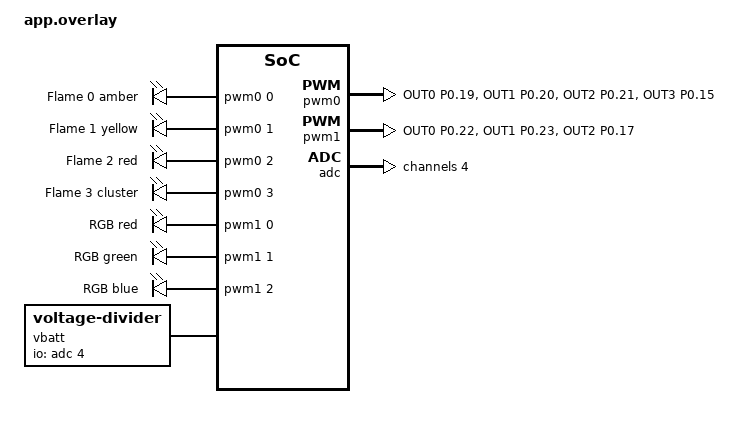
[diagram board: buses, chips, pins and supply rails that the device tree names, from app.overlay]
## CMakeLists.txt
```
# SPDX-License-Identifier: Apache-2.0
cmake_minimum_required(VERSION 3.20.0)

# The SparkFun Pro nRF52840 Mini board definition lives in this repo
# (boards/sparkfun/pro_nrf52840_mini); tell Zephyr where to look.
list(APPEND BOARD_ROOT ${CMAKE_CURRENT_SOURCE_DIR})

find_package(Zephyr REQUIRED HINTS $ENV{ZEPHYR_BASE})
project(openwick LANGUAGES C)

target_sources(app PRIVATE
  src/main.c
  src/candle.c
  src/candle_ble.c
  src/battery.c
)
target_sources_ifdef(CONFIG_SHELL app PRIVATE src/shell_cmds.c)
```

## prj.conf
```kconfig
# ---- Hardware ---------------------------------------------------------------
CONFIG_GPIO=y
CONFIG_PWM=y
CONFIG_ADC=y
CONFIG_FPU=y
CONFIG_REBOOT=y

# ---- Settings persistence in the "storage" partition (NVS) ------------------
CONFIG_FLASH=y
CONFIG_FLASH_MAP=y
CONFIG_FLASH_PAGE_LAYOUT=y
CONFIG_MPU_ALLOW_FLASH_WRITE=y
CONFIG_NVS=y
CONFIG_SETTINGS=y
CONFIG_SETTINGS_NVS=y

# ---- Bluetooth LE peripheral ------------------------------------------------
CONFIG_BT=y
CONFIG_BT_PERIPHERAL=y
CONFIG_BT_DEVICE_NAME="Pumpkin Candle"
# Appearance: light fixture
CONFIG_BT_DEVICE_APPEARANCE=1856
CONFIG_BT_MAX_CONN=1
CONFIG_BT_SETTINGS=n
# Database Hash characteristic, so phones notice when the service table changes
# between firmware versions instead of showing a cached copy.
CONFIG_BT_GATT_CACHING=y
CONFIG_NRF_SECURITY=y
CONFIG_BT_BAS=y
CONFIG_BT_DIS=y
CONFIG_BT_DIS_MODEL_NUMBER=y
CONFIG_BT_DIS_MODEL_NUMBER_STR="Pumpkin Candle"
CONFIG_BT_DIS_MANUF_NAME=y
CONFIG_BT_DIS_MANUF_NAME_STR="OpenWick"
CONFIG_BT_DIS_FW_REV=y
CONFIG_BT_DIS_FW_REV_STR="0.2.0"

# ---- USB console: logging and a shell ---------------------------------------
CONFIG_LOG=y
CONFIG_LOG_DEFAULT_LEVEL=3
CONFIG_SHELL=y
CONFIG_SHELL_PROMPT_UART="candle:~$ "
CONFIG_SHELL_CMDS_RESIZE=n
```

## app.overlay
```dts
/*
 * Candle wiring on the SparkFun Pro nRF52840 Mini headers.
 *
 * Everything in this file is project wiring (what we solder to the headers);
 * the board files only describe what SparkFun put on the PCB.
 *
 *   Header pin  Signal   What                      Peripheral
 *   P0.19       flame0   amber 5 mm                PWM0 ch0
 *   P0.20       flame1   yellow 5 mm               PWM0 ch1
 *   P0.21       flame2   red 5 mm                  PWM0 ch2
 *   P0.15       flame3   mini LED cluster          PWM0 ch3
 *   P0.22       rgb_r    RGB LED red               PWM1 ch0
 *   P0.23       rgb_g    RGB LED green             PWM1 ch1
 *   P0.17       rgb_b    RGB LED blue              PWM1 ch2
 *   P0.28       vbatt    battery divider (AIN4)    SAADC
 *
 * The four flame channels are low-side 2N3904 switches: GPIO high = LED on,
 * so their PWM polarity is "normal". The RGB LED is common cathode, so its
 * three elements are switched on the high side by 2N3906 PNPs: GPIO low =
 * element on, hence PWM_POLARITY_INVERTED on those channels. A 10 k from each
 * PNP base to 3V3 keeps the core dark while the pins float during reset.
 *
 * PWM period 500 us = 2 kHz, which gives 8000 counts of resolution on the
 * nRF52840's 16 MHz PWM clock (plenty for gamma-corrected low-end dimming).
 */

#include <zephyr/dt-bindings/pwm/pwm.h>
#include <zephyr/dt-bindings/adc/adc.h>
#include <zephyr/dt-bindings/adc/nrf-adc.h>

#define CANDLE_PWM_PERIOD PWM_USEC(500)

/ {
	flame_leds: pwmleds_flame {
		compatible = "pwm-leds";

		flame0: flame_0 {
			pwms = <&pwm0 0 CANDLE_PWM_PERIOD PWM_POLARITY_NORMAL>;
			label = "Flame 0 amber";
		};
		flame1: flame_1 {
			pwms = <&pwm0 1 CANDLE_PWM_PERIOD PWM_POLARITY_NORMAL>;
			label = "Flame 1 yellow";
		};
		flame2: flame_2 {
			pwms = <&pwm0 2 CANDLE_PWM_PERIOD PWM_POLARITY_NORMAL>;
			label = "Flame 2 red";
		};
		flame3: flame_3 {
			pwms = <&pwm0 3 CANDLE_PWM_PERIOD PWM_POLARITY_NORMAL>;
			label = "Flame 3 cluster";
		};
	};

	rgb_leds: pwmleds_rgb {
		compatible = "pwm-leds";

		rgb_r: rgb_r {
			pwms = <&pwm1 0 CANDLE_PWM_PERIOD PWM_POLARITY_INVERTED>;
			label = "RGB red";
		};
		rgb_g: rgb_g {
			pwms = <&pwm1 1 CANDLE_PWM_PERIOD PWM_POLARITY_INVERTED>;
			label = "RGB green";
		};
		rgb_b: rgb_b {
			pwms = <&pwm1 2 CANDLE_PWM_PERIOD PWM_POLARITY_INVERTED>;
			label = "RGB blue";
		};
	};

	/* Two 1 M resistors from the battery "+" pad to GND, midpoint to P0.28,
	 * with 100 nF from the midpoint to GND.
	 */
	vbatt: vbatt {
		compatible = "voltage-divider";
		io-channels = <&adc 4>;
		output-ohms = <1000000>;
		full-ohms = <(1000000 + 1000000)>;
	};
};

&pinctrl {
	pwm0_default: pwm0_default {
		group1 {
			psels = <NRF_PSEL(PWM_OUT0, 0, 19)>,
				<NRF_PSEL(PWM_OUT1, 0, 20)>,
				<NRF_PSEL(PWM_OUT2, 0, 21)>,
				<NRF_PSEL(PWM_OUT3, 0, 15)>;
		};
	};

	pwm0_sleep: pwm0_sleep {
		group1 {
			psels = <NRF_PSEL(PWM_OUT0, 0, 19)>,
				<NRF_PSEL(PWM_OUT1, 0, 20)>,
				<NRF_PSEL(PWM_OUT2, 0, 21)>,
				<NRF_PSEL(PWM_OUT3, 0, 15)>;
			low-power-enable;
		};
	};

	pwm1_default: pwm1_default {
		group1 {
			psels = <NRF_PSEL(PWM_OUT0, 0, 22)>,
				<NRF_PSEL(PWM_OUT1, 0, 23)>,
				<NRF_PSEL(PWM_OUT2, 0, 17)>;
		};
	};

	pwm1_sleep: pwm1_sleep {
		group1 {
			psels = <NRF_PSEL(PWM_OUT0, 0, 22)>,
				<NRF_PSEL(PWM_OUT1, 0, 23)>,
				<NRF_PSEL(PWM_OUT2, 0, 17)>;
			low-power-enable;
		};
	};
};

&pwm0 {
	status = "okay";
	pinctrl-0 = <&pwm0_default>;
	pinctrl-1 = <&pwm0_sleep>;
	pinctrl-names = "default", "sleep";
};

&pwm1 {
	status = "okay";
	pinctrl-0 = <&pwm1_default>;
	pinctrl-1 = <&pwm1_sleep>;
	pinctrl-names = "default", "sleep";
};

&adc {
	#address-cells = <1>;
	#size-cells = <0>;

	/* Battery divider: 0..2.1 V into AIN4, 1/6 gain against the 0.6 V
	 * internal reference gives a 3.6 V full scale. The 1 M source impedance
	 * needs the long 40 us acquisition time.
	 */
	channel@4 {
		reg = <4>;
		zephyr,gain = "ADC_GAIN_1_6";
		zephyr,reference = "ADC_REF_INTERNAL";
		zephyr,acquisition-time = <ADC_ACQ_TIME(ADC_ACQ_TIME_MICROSECONDS, 40)>;
		zephyr,input-positive = <NRF_SAADC_AIN4>;
		zephyr,resolution = <12>;
		zephyr,oversampling = <4>;
	};
};
```

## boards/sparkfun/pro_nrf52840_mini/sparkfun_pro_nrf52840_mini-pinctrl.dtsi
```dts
/*
 * SparkFun Pro nRF52840 Mini (DEV-15025) default pin assignments.
 *
 * UART pins match the silkscreen (TX = P0.17, RX = P0.15).
 * I2C pins are the Qwiic connector (SDA = P0.08, SCL = P0.11), which has
 * 2.2 k pull-ups to 3.3 V on the board.
 *
 * SPDX-License-Identifier: Apache-2.0
 */

&pinctrl {
	uart0_default: uart0_default {
		group1 {
			psels = <NRF_PSEL(UART_TX, 0, 17)>,
				<NRF_PSEL(UART_RX, 0, 15)>;
		};
	};

	uart0_sleep: uart0_sleep {
		group1 {
			psels = <NRF_PSEL(UART_TX, 0, 17)>,
				<NRF_PSEL(UART_RX, 0, 15)>;
			low-power-enable;
		};
	};

	i2c0_default: i2c0_default {
		group1 {
			psels = <NRF_PSEL(TWIM_SDA, 0, 8)>,
				<NRF_PSEL(TWIM_SCL, 0, 11)>;
		};
	};

	i2c0_sleep: i2c0_sleep {
		group1 {
			psels = <NRF_PSEL(TWIM_SDA, 0, 8)>,
				<NRF_PSEL(TWIM_SCL, 0, 11)>;
			low-power-enable;
		};
	};
};
```

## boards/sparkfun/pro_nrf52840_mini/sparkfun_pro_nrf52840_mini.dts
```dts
/*
 * SparkFun Pro nRF52840 Mini, bare-metal flash layout.
 *
 * WARNING: this target links the application at address 0 and flashing it
 * over SWD erases the factory UF2 bootloader. Use the ".../nrf52840/uf2"
 * target to keep drag-and-drop flashing.
 *
 * SPDX-License-Identifier: Apache-2.0
 */

/dts-v1/;
#include "sparkfun_pro_nrf52840_mini_common.dtsi"
#include <nordic/nrf52840_partition.dtsi>

/ {
	model = "SparkFun Pro nRF52840 Mini";
	compatible = "sparkfun,pro-nrf52840-mini";

	chosen {
		zephyr,console = &uart0;
		zephyr,shell-uart = &uart0;
		zephyr,uart-mcumgr = &uart0;
		zephyr,bt-mon-uart = &uart0;
		zephyr,bt-c2h-uart = &uart0;
	};
};

&uart0 {
	status = "okay";
};
```

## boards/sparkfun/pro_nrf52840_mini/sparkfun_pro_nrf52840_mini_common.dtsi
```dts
/*
 * SparkFun Pro nRF52840 Mini (DEV-15025)
 *
 * Raytac MDBT50Q module, Adafruit-style UF2 bootloader, MCP73831 LiPo charger,
 * 3.3 V / 600 mA regulator behind an on/off switch, blue user LED on P0.07,
 * user/bootloader button on P0.13 (10 k pull-up on the board), Qwiic I2C,
 * 32.768 kHz crystal, reset on P0.18.
 *
 * SPDX-License-Identifier: Apache-2.0
 */

#include <nordic/nrf52840_qiaa.dtsi>
#include "sparkfun_pro_nrf52840_mini-pinctrl.dtsi"
#include <zephyr/dt-bindings/input/input-event-codes.h>

/ {
	leds {
		compatible = "gpio-leds";

		led0: led_0 {
			gpios = <&gpio0 7 GPIO_ACTIVE_HIGH>;
			label = "Blue LED";
		};
	};

	buttons {
		compatible = "gpio-keys";

		button0: button_0 {
			/* External 10 k pull-up on the board; also the bootloader entry pin. */
			gpios = <&gpio0 13 GPIO_ACTIVE_LOW>;
			label = "User button";
			zephyr,code = <INPUT_KEY_0>;
		};
	};

	/* These aliases are provided for compatibility with samples */
	aliases {
		led0 = &led0;
		sw0 = &button0;
		watchdog0 = &wdt0;
	};
};

&reg1 {
	regulator-initial-mode = <NRF5X_REG_MODE_DCDC>;
};

&adc {
	status = "okay";
};

&uicr {
	gpio-as-nreset;
};

&gpiote {
	status = "okay";
};

&gpio0 {
	status = "okay";
};

&gpio1 {
	status = "okay";
};

/* Enabled or disabled by the board variant: the UF2 variant uses USB CDC for
 * its console and leaves these header pins free.
 */
&uart0 {
	compatible = "nordic,nrf-uarte";
	current-speed = <115200>;
	pinctrl-0 = <&uart0_default>;
	pinctrl-1 = <&uart0_sleep>;
	pinctrl-names = "default", "sleep";
};

/* Qwiic connector */
&i2c0 {
	compatible = "nordic,nrf-twi";
	status = "okay";
	pinctrl-0 = <&i2c0_default>;
	pinctrl-1 = <&i2c0_sleep>;
	pinctrl-names = "default", "sleep";
};

zephyr_udc0: &usbd {
	compatible = "nordic,nrf-usbd";
	status = "okay";
};
```

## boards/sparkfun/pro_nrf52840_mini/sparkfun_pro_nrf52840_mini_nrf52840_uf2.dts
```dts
/*
 * SparkFun Pro nRF52840 Mini with the factory Adafruit nRF52 UF2 bootloader
 * (SoftDevice S140 v6.1.1 memory map: application starts at 0x26000).
 *
 * Console, logging and shell run over the nRF52840's native USB (CDC ACM).
 *
 * SPDX-License-Identifier: Apache-2.0
 */

/dts-v1/;
#include "sparkfun_pro_nrf52840_mini_common.dtsi"
#include <nordic/nrf52840_partition_uf2_sdv6.dtsi>
#include <../boards/common/usb/cdc_acm_serial.dtsi>

/ {
	model = "SparkFun Pro nRF52840 Mini (UF2 bootloader)";
	compatible = "sparkfun,pro-nrf52840-mini-uf2";
};

/* The console is USB CDC ACM, so leave P0.15/P0.17 free for the application. */
&uart0 {
	status = "disabled";
};
```

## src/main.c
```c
/*
 * OpenWick: a Bluetooth-controlled flickering pumpkin candle.
 *
 *  - candle.c      animation engine driving seven PWM channels
 *  - candle_ble.c  advertising and the Candle GATT service
 *  - battery.c     LiPo monitoring and low-battery lockout
 *  - shell_cmds.c  "candle" commands on the USB console
 *
 * This file wires them together and handles the button and the status LED:
 * short press toggles the light, a long press steps to the next mode. The
 * blue LED gives one short blink every two seconds while advertising and two
 * blinks while a phone is connected.
 *
 * SPDX-License-Identifier: Apache-2.0
 */

#include <zephyr/kernel.h>
#include <zephyr/device.h>
#include <zephyr/devicetree.h>
#include <zephyr/drivers/gpio.h>
#include <zephyr/logging/log.h>

#include "battery.h"
#include "candle.h"
#include "candle_ble.h"

LOG_MODULE_REGISTER(app, CONFIG_LOG_DEFAULT_LEVEL);

#define LED_TICK_MS        50
#define LED_PERIOD_TICKS   40 /* 2 s */
#define BUTTON_DEBOUNCE_MS 30
#define LONG_PRESS_MS      1500

static const struct gpio_dt_spec status_led = GPIO_DT_SPEC_GET(DT_ALIAS(led0), gpios);
static const struct gpio_dt_spec button = GPIO_DT_SPEC_GET(DT_ALIAS(sw0), gpios);

static struct gpio_callback button_cb_data;
static int64_t last_edge_ms;
static int64_t press_ms;
static bool long_press_fired;

/* ---- Button --------------------------------------------------------------- */

static void short_press_work_handler(struct k_work *work)
{
	LOG_INF("Button: toggle");
	candle_toggle_power();
}
static K_WORK_DEFINE(short_press_work, short_press_work_handler);

static void long_press_work_handler(struct k_work *work)
{
	long_press_fired = true;
	LOG_INF("Button: next mode");
	candle_next_mode();
}
static K_WORK_DELAYABLE_DEFINE(long_press_work, long_press_work_handler);

static void button_edge(const struct device *dev, struct gpio_callback *cb, uint32_t pins)
{
	int64_t now = k_uptime_get();
	bool pressed = gpio_pin_get_dt(&button) > 0;

	if (now - last_edge_ms < BUTTON_DEBOUNCE_MS) {
		return;
	}
	last_edge_ms = now;

	if (pressed) {
		press_ms = now;
		long_press_fired = false;
		k_work_reschedule(&long_press_work, K_MSEC(LONG_PRESS_MS));
	} else {
		k_work_cancel_delayable(&long_press_work);
		if (!long_press_fired && now - press_ms >= BUTTON_DEBOUNCE_MS) {
			k_work_submit(&short_press_work);
		}
	}
}

/* ---- Main ----------------------------------------------------------------- */

int main(void)
{
	uint32_t tick = 0;
	int err;

	LOG_INF("OpenWick starting");

	if (!gpio_is_ready_dt(&status_led) || !gpio_is_ready_dt(&button)) {
		LOG_ERR("GPIO not ready");
		return -ENODEV;
	}
	gpio_pin_configure_dt(&status_led, GPIO_OUTPUT_INACTIVE);
	gpio_pin_configure_dt(&button, GPIO_INPUT);
	gpio_pin_interrupt_configure_dt(&button, GPIO_INT_EDGE_BOTH);
	gpio_init_callback(&button_cb_data, button_edge, BIT(button.pin));
	gpio_add_callback(button.port, &button_cb_data);

	err = candle_init();
	if (err) {
		return err;
	}
	err = battery_init();
	if (err) {
		LOG_WRN("Battery monitor disabled (err %d)", err);
	}
	err = candle_ble_init();
	if (err) {
		return err;
	}

	while (1) {
		unsigned int phase;
		bool on;

		k_sleep(K_MSEC(LED_TICK_MS));
		phase = tick++ % LED_PERIOD_TICKS;
		on = phase == 0 || (phase == 3 && candle_ble_is_connected());
		gpio_pin_set_dt(&status_led, on);
	}
	return 0;
}
```

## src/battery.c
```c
/*
 * Battery monitor.
 *
 * Reads the 1 M / 1 M divider every ten seconds, converts to a LiPo state of
 * charge, and locks the candle out below the cutoff voltage so a cell is never
 * run flat. An unwired divider reads near zero and is reported as unknown.
 *
 * SPDX-License-Identifier: Apache-2.0
 */

#include <zephyr/kernel.h>
#include <zephyr/device.h>
#include <zephyr/devicetree.h>
#include <zephyr/drivers/adc.h>
#include <zephyr/logging/log.h>

#include "battery.h"
#include "candle.h"

LOG_MODULE_REGISTER(battery, CONFIG_LOG_DEFAULT_LEVEL);

#define SAMPLE_PERIOD   K_SECONDS(10)
#define FIRST_SAMPLE    K_SECONDS(2)
#define SAMPLES_PER_READ 4

#define PLAUSIBLE_MIN_MV 2500 /* below this the divider is not connected */
#define CUTOFF_MV        3300 /* lock the light out */
#define RELEASE_MV       3550 /* ...until the cell recovers or is charged */
#define CUTOFF_READINGS  3

static const struct adc_dt_spec vbatt = ADC_DT_SPEC_GET(DT_NODELABEL(vbatt));
static const uint32_t full_ohms = DT_PROP(DT_NODELABEL(vbatt), full_ohms);
static const uint32_t output_ohms = DT_PROP(DT_NODELABEL(vbatt), output_ohms);

static uint16_t last_mv;
static uint8_t last_percent;
static battery_cb_t callback;
static int low_readings;
static bool warned_unwired;

static const struct {
	uint16_t mv;
	uint8_t percent;
} curve[] = {
	{ 4200, 100 }, { 4100, 92 }, { 4000, 82 }, { 3900, 68 }, { 3800, 50 }, { 3750, 40 },
	{ 3700, 30 }, { 3650, 20 }, { 3600, 12 }, { 3500, 5 }, { 3400, 2 }, { 3300, 0 },
};

static uint8_t mv_to_percent(uint16_t mv)
{
	if (mv >= curve[0].mv) {
		return 100;
	}
	for (size_t i = 1; i < ARRAY_SIZE(curve); i++) {
		if (mv >= curve[i].mv) {
			uint16_t span = curve[i - 1].mv - curve[i].mv;
			uint16_t pct_span = curve[i - 1].percent - curve[i].percent;

			return curve[i].percent + (mv - curve[i].mv) * pct_span / span;
		}
	}
	return 0;
}

static int read_millivolts(int32_t *out)
{
	int16_t raw;
	struct adc_sequence seq = {
		.buffer = &raw,
		.buffer_size = sizeof(raw),
	};
	int32_t sum = 0;
	int err;

	adc_sequence_init_dt(&vbatt, &seq);
	for (int i = 0; i < SAMPLES_PER_READ; i++) {
		int32_t mv;

		err = adc_read_dt(&vbatt, &seq);
		if (err) {
			return err;
		}
		mv = MAX(raw, 0);
		err = adc_raw_to_millivolts_dt(&vbatt, &mv);
		if (err) {
			return err;
		}
		sum += mv;
	}
	*out = (sum / SAMPLES_PER_READ) * (int32_t)full_ohms / (int32_t)output_ohms;
	return 0;
}

static void sample_work_handler(struct k_work *work)
{
	struct k_work_delayable *dwork = k_work_delayable_from_work(work);
	int32_t mv;
	int err;

	err = read_millivolts(&mv);
	if (err) {
		LOG_WRN("ADC read failed (err %d)", err);
	} else if (mv < PLAUSIBLE_MIN_MV) {
		if (!warned_unwired) {
			LOG_INF("Battery divider reads %d mV: treating as not connected", mv);
			warned_unwired = true;
		}
		last_mv = 0;
	} else {
		warned_unwired = false;
		last_mv = (uint16_t)mv;
		last_percent = mv_to_percent(last_mv);
		LOG_DBG("Battery %u mV (%u %%)", last_mv, last_percent);

		if (last_mv < CUTOFF_MV) {
			if (++low_readings >= CUTOFF_READINGS && !candle_get_lockout()) {
				LOG_WRN("Battery low (%u mV): light off", last_mv);
				candle_set_lockout(true);
			}
		} else {
			low_readings = 0;
			if (last_mv > RELEASE_MV && candle_get_lockout()) {
				LOG_INF("Battery recovered (%u mV): light released", last_mv);
				candle_set_lockout(false);
			}
		}
		if (callback) {
			callback(last_mv, last_percent);
		}
	}

	k_work_reschedule(dwork, SAMPLE_PERIOD);
}
static K_WORK_DELAYABLE_DEFINE(sample_work, sample_work_handler);

uint16_t battery_get_millivolts(void)
{
	return last_mv;
}

uint8_t battery_get_percent(void)
{
	return last_mv ? last_percent : 0;
}

void battery_set_callback(battery_cb_t cb)
{
	callback = cb;
}

int battery_init(void)
{
	int err;

	if (!adc_is_ready_dt(&vbatt)) {
		LOG_ERR("ADC not ready");
		return -ENODEV;
	}
	err = adc_channel_setup_dt(&vbatt);
	if (err) {
		LOG_ERR("ADC channel setup failed (err %d)", err);
		return err;
	}
	k_work_schedule(&sample_work, FIRST_SAMPLE);
	return 0;
}
```

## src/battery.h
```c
/*
 * Battery monitor: samples the divider on AIN4 and reports level and voltage.
 *
 * SPDX-License-Identifier: Apache-2.0
 */
#ifndef BATTERY_H_
#define BATTERY_H_

#include <stdint.h>

typedef void (*battery_cb_t)(uint16_t millivolts, uint8_t percent);

int battery_init(void);

/* 0 when no plausible battery voltage has been measured. */
uint16_t battery_get_millivolts(void);
uint8_t battery_get_percent(void);

/* Called after each measurement. */
void battery_set_callback(battery_cb_t cb);

#endif /* BATTERY_H_ */
```

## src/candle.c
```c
/*
 * Candle engine.
 *
 * A 50 Hz animation thread turns the configuration into seven PWM duty
 * cycles. Flames are modelled as independent noisy levels that drift toward
 * random targets, modulated by a slow "wind" process and occasional gusts;
 * the RGB core follows the same model in its own colour. Outputs are gamma
 * corrected so the low end dims smoothly.
 *
 * SPDX-License-Identifier: Apache-2.0
 */

#include <math.h>
#include <string.h>

#include <zephyr/kernel.h>
#include <zephyr/device.h>
#include <zephyr/drivers/pwm.h>
#include <zephyr/logging/log.h>
#include <zephyr/random/random.h>
#include <zephyr/settings/settings.h>
#include <zephyr/sys/util.h>

#include "candle.h"

LOG_MODULE_REGISTER(candle, CONFIG_LOG_DEFAULT_LEVEL);

#define TICK_MS 20
#define TICK_HZ (1000 / TICK_MS)

#define SAVE_DELAY K_SECONDS(2)

#define TWO_PI_F 6.28318530718f

enum { CH_AMBER, CH_YELLOW, CH_RED, CH_CLUSTER, CH_R, CH_G, CH_B, CH_COUNT };
BUILD_ASSERT(CH_COUNT == CANDLE_CHANNELS);

static const struct pwm_dt_spec channels[CH_COUNT] = {
	[CH_AMBER] = PWM_DT_SPEC_GET(DT_NODELABEL(flame0)),
	[CH_YELLOW] = PWM_DT_SPEC_GET(DT_NODELABEL(flame1)),
	[CH_RED] = PWM_DT_SPEC_GET(DT_NODELABEL(flame2)),
	[CH_CLUSTER] = PWM_DT_SPEC_GET(DT_NODELABEL(flame3)),
	[CH_R] = PWM_DT_SPEC_GET(DT_NODELABEL(rgb_r)),
	[CH_G] = PWM_DT_SPEC_GET(DT_NODELABEL(rgb_g)),
	[CH_B] = PWM_DT_SPEC_GET(DT_NODELABEL(rgb_b)),
};

static const char *const mode_names[CANDLE_MODE_COUNT] = {
	[CANDLE_MODE_STEADY] = "steady",
	[CANDLE_MODE_CALM] = "calm",
	[CANDLE_MODE_NORMAL] = "normal",
	[CANDLE_MODE_WINDY] = "windy",
	[CANDLE_MODE_EMBER] = "ember",
	[CANDLE_MODE_STORM] = "storm",
	[CANDLE_MODE_COLOR_CYCLE] = "colorcycle",
	[CANDLE_MODE_BREATHE] = "breathe",
};

/* ---- Configuration -------------------------------------------------------- */

static struct candle_config cfg = {
	.power = 1,
	.brightness = 80,
	.mode = CANDLE_MODE_NORMAL,
	.speed = 50,
	.intensity = 50,
	.rgb = { 255, 96, 8 },
};
static struct k_spinlock cfg_lock;
static candle_change_cb_t change_cb;
static atomic_t lockout;
static uint8_t rgb_balance[3] = { 100, 100, 100 };
static uint8_t levels[CH_COUNT];

static void save_work_handler(struct k_work *work)
{
	struct candle_config snapshot;
	int err;

	candle_get_config(&snapshot);
	err = settings_save_one("candle/cfg", &snapshot, sizeof(snapshot));
	if (err) {
		LOG_WRN("Saving settings failed (err %d)", err);
	} else {
		LOG_DBG("Settings saved");
	}
}
static K_WORK_DELAYABLE_DEFINE(save_work, save_work_handler);

static void changed(uint32_t fields)
{
	if (change_cb) {
		change_cb(fields);
	}
	k_work_reschedule(&save_work, SAVE_DELAY);
}

static bool config_valid(const struct candle_config *c)
{
	return c->power <= 1 && c->brightness <= 100 && c->mode < CANDLE_MODE_COUNT &&
	       c->speed <= 100 && c->intensity <= 100;
}

static int candle_settings_set(const char *name, size_t len, settings_read_cb read_cb,
			       void *cb_arg)
{
	const char *next;

	if (settings_name_steq(name, "cfg", &next) && !next) {
		struct candle_config loaded;
		ssize_t rc;

		if (len != sizeof(loaded)) {
			LOG_WRN("Ignoring saved config of size %u", (unsigned int)len);
			return -EINVAL;
		}
		rc = read_cb(cb_arg, &loaded, sizeof(loaded));
		if (rc < 0) {
			return (int)rc;
		}
		if (!config_valid(&loaded)) {
			LOG_WRN("Ignoring invalid saved config");
			return -EINVAL;
		}
		k_spinlock_key_t key = k_spin_lock(&cfg_lock);

		cfg = loaded;
		k_spin_unlock(&cfg_lock, key);
		return 0;
	}
	return -ENOENT;
}
SETTINGS_STATIC_HANDLER_DEFINE(candle, "candle", NULL, candle_settings_set, NULL, NULL);

void candle_get_config(struct candle_config *out)
{
	k_spinlock_key_t key = k_spin_lock(&cfg_lock);

	*out = cfg;
	k_spin_unlock(&cfg_lock, key);
}

/* Updates one byte of the configuration; returns true if it changed. */
static bool set_u8(uint8_t *field, uint8_t value)
{
	k_spinlock_key_t key = k_spin_lock(&cfg_lock);
	bool differs = *field != value;

	*field = value;
	k_spin_unlock(&cfg_lock, key);
	return differs;
}

int candle_set_power(bool on)
{
	if (set_u8(&cfg.power, on ? 1 : 0)) {
		LOG_INF("Power %s", on ? "on" : "off");
		changed(CANDLE_FIELD_POWER);
	}
	return 0;
}

int candle_set_brightness(uint8_t percent)
{
	if (percent > 100) {
		return -EINVAL;
	}
	if (set_u8(&cfg.brightness, percent)) {
		LOG_INF("Brightness %u %%", percent);
		changed(CANDLE_FIELD_BRIGHTNESS);
	}
	return 0;
}

int candle_set_mode(uint8_t mode)
{
	if (mode >= CANDLE_MODE_COUNT) {
		return -EINVAL;
	}
	if (set_u8(&cfg.mode, mode)) {
		LOG_INF("Mode %s", mode_names[mode]);
		changed(CANDLE_FIELD_MODE);
	}
	return 0;
}

int candle_set_speed(uint8_t speed)
{
	if (speed > 100) {
		return -EINVAL;
	}
	if (set_u8(&cfg.speed, speed)) {
		LOG_INF("Speed %u", speed);
		changed(CANDLE_FIELD_SPEED);
	}
	return 0;
}

int candle_set_intensity(uint8_t intensity)
{
	if (intensity > 100) {
		return -EINVAL;
	}
	if (set_u8(&cfg.intensity, intensity)) {
		LOG_INF("Intensity %u", intensity);
		changed(CANDLE_FIELD_INTENSITY);
	}
	return 0;
}

int candle_set_rgb(const uint8_t rgb[3])
{
	k_spinlock_key_t key = k_spin_lock(&cfg_lock);
	bool differs = memcmp(cfg.rgb, rgb, 3) != 0;

	memcpy(cfg.rgb, rgb, 3);
	k_spin_unlock(&cfg_lock, key);
	if (differs) {
		LOG_INF("Colour %u,%u,%u", rgb[0], rgb[1], rgb[2]);
		changed(CANDLE_FIELD_COLOR);
	}
	return 0;
}

void candle_toggle_power(void)
{
	struct candle_config c;

	candle_get_config(&c);
	candle_set_power(!c.power);
}

void candle_next_mode(void)
{
	struct candle_config c;

	candle_get_config(&c);
	candle_set_mode((c.mode + 1) % CANDLE_MODE_COUNT);
}

void candle_set_rgb_balance(const uint8_t balance[3])
{
	for (int i = 0; i < 3; i++) {
		rgb_balance[i] = MIN(balance[i], 100);
	}
}

void candle_get_rgb_balance(uint8_t balance[3])
{
	memcpy(balance, rgb_balance, 3);
}

void candle_set_change_callback(candle_change_cb_t cb)
{
	change_cb = cb;
}

void candle_set_lockout(bool on)
{
	atomic_set(&lockout, on);
}

bool candle_get_lockout(void)
{
	return atomic_get(&lockout);
}

void candle_get_levels(uint8_t out[CANDLE_CHANNELS])
{
	memcpy(out, levels, CH_COUNT);
}

const char *candle_mode_name(uint8_t mode)
{
	return mode < CANDLE_MODE_COUNT ? mode_names[mode] : "?";
}

int candle_mode_from_name(const char *name)
{
	for (int i = 0; i < CANDLE_MODE_COUNT; i++) {
		if (strcmp(name, mode_names[i]) == 0) {
			return i;
		}
	}
	return -1;
}

/* ---- Random numbers ------------------------------------------------------- */

static uint32_t rng_state = 0x9E3779B9;

static inline uint32_t rng_u32(void)
{
	uint32_t x = rng_state;

	x ^= x << 13;
	x ^= x >> 17;
	x ^= x << 5;
	rng_state = x;
	return x;
}

/* Uniform 0..1 */
static inline float rng_f(void)
{
	return (rng_u32() >> 8) * (1.0f / 16777216.0f);
}

/* Triangular -1..1: small values are more likely than large ones. */
static inline float rng_tri(void)
{
	return rng_f() + rng_f() - 1.0f;
}

/* ---- Flame model ---------------------------------------------------------- */

struct flame {
	float level;
	float target;
	int hold;
};

/* How each physical channel behaves relative to the others. */
struct flame_char {
	float base;  /* resting level */
	float depth; /* flicker amplitude multiplier */
	float tempo; /* flicker speed multiplier */
};

static const struct flame_char flame_chars[4] = {
	[CH_AMBER] = { 0.95f, 0.90f, 1.00f },
	[CH_YELLOW] = { 0.80f, 1.20f, 1.30f },
	[CH_RED] = { 0.60f, 0.70f, 0.60f },
	[CH_CLUSTER] = { 0.65f, 0.80f, 0.80f },
};
static const struct flame_char core_char = { 0.85f, 0.60f, 0.70f };

struct mode_params {
	float depth;          /* flicker amplitude at full intensity */
	float tempo;          /* base speed multiplier */
	float gust_rate;      /* gusts per second at full intensity */
	float gust_depth;     /* how far a gust pulls the light down */
	float flame_scale[4]; /* per-flame level multiplier */
	float core_scale;     /* RGB core level multiplier */
};

static const struct mode_params mode_params[CANDLE_MODE_COUNT] = {
	[CANDLE_MODE_STEADY] = { 0.00f, 1.0f, 0.00f, 0.00f, { 1.0f, 1.0f, 1.0f, 1.0f }, 1.0f },
	[CANDLE_MODE_CALM] = { 0.25f, 0.7f, 0.05f, 0.40f, { 1.0f, 1.0f, 1.0f, 1.0f }, 1.0f },
	[CANDLE_MODE_NORMAL] = { 0.45f, 1.0f, 0.20f, 0.60f, { 1.0f, 1.0f, 1.0f, 1.0f }, 1.0f },
	[CANDLE_MODE_WINDY] = { 0.80f, 1.6f, 0.60f, 0.85f, { 1.0f, 1.0f, 1.0f, 1.0f }, 1.0f },
	[CANDLE_MODE_EMBER] = { 0.50f, 0.35f, 0.03f, 0.50f, { 0.3f, 0.1f, 1.0f, 1.0f }, 0.6f },
	[CANDLE_MODE_STORM] = { 0.50f, 1.2f, 0.30f, 0.70f, { 0.45f, 0.45f, 0.45f, 0.45f }, 0.3f },
	[CANDLE_MODE_COLOR_CYCLE] = { 0.30f, 0.8f, 0.05f, 0.40f, { 0.5f, 0.5f, 0.5f, 0.5f }, 1.0f },
	[CANDLE_MODE_BREATHE] = { 0.00f, 1.0f, 0.00f, 0.00f, { 1.0f, 1.0f, 1.0f, 1.0f }, 1.0f },
};

struct engine {
	struct flame flames[4];
	struct flame core;
	float wind;
	/* gust envelope */
	int gust_t, gust_dip, gust_total;
	float gust_depth;
	/* lightning */
	int storm_wait, storm_on, storm_gap, storm_left;
	/* cyclic modes */
	float hue, breathe_phase;
	/* smoothed outputs and what was last written to the PWM */
	float out[CH_COUNT];
	uint32_t last_pulse[CH_COUNT];
};

static struct engine eng;

static void flame_step(struct flame *f, const struct flame_char *c, float depth, float tempo,
		       bool gusting)
{
	float t = tempo * c->tempo;

	if (--f->hold <= 0) {
		float dip = fabsf(rng_tri());
		float spark = (rng_f() - 0.5f) * 0.10f;
		float min_hold = 1.5f / t;
		float range = 6.0f / t;

		f->target = c->base * (1.0f - depth * c->depth * dip) + spark;
		f->target = CLAMP(f->target, 0.02f, 1.0f);
		if (gusting) {
			min_hold *= 0.5f;
			range *= 0.4f;
		}
		f->hold = MAX(1, (int)(min_hold + rng_f() * range));
	}

	float alpha = CLAMP(0.10f + 0.20f * t, 0.08f, 0.85f);

	f->level += (f->target - f->level) * alpha;
}

/* Returns the gust envelope, 1.0 when no gust is in progress. */
static float gust_step(const struct mode_params *mp, float intensity)
{
	float env;

	if (eng.gust_total == 0) {
		float rate = mp->gust_rate * (0.3f + 1.4f * intensity);

		if (rng_f() >= rate / TICK_HZ) {
			return 1.0f;
		}
		eng.gust_total = (int)(TICK_HZ * (0.3f + rng_f() * 0.9f));
		eng.gust_dip = eng.gust_total / 3 + 1;
		eng.gust_depth = mp->gust_depth * (0.5f + 0.5f * rng_f()) * (0.4f + 0.6f * intensity);
		eng.gust_t = 0;
	}

	eng.gust_t++;
	if (eng.gust_t <= eng.gust_dip) {
		env = 1.0f - eng.gust_depth * ((float)eng.gust_t / eng.gust_dip);
	} else {
		float r = (float)(eng.gust_t - eng.gust_dip) / (eng.gust_total - eng.gust_dip);

		env = 1.0f - eng.gust_depth * (1.0f - r);
	}
	env += (rng_f() - 0.5f) * 0.1f * eng.gust_depth;
	if (eng.gust_t >= eng.gust_total) {
		eng.gust_total = 0;
	}
	return CLAMP(env, 0.05f, 1.0f);
}

/* Returns true while a lightning flash is lit. */
static bool storm_step(float speed, float intensity)
{
	if (eng.storm_on > 0) {
		if (--eng.storm_on == 0) {
			eng.storm_gap = 2 + rng_u32() % 7;
		}
		return true;
	}
	if (eng.storm_left > 0) {
		if (--eng.storm_gap <= 0) {
			eng.storm_left--;
			eng.storm_on = 1 + rng_u32() % 4;
			return true;
		}
		return false;
	}
	if (--eng.storm_wait <= 0) {
		float mean_s = 9.0f / ((0.5f + 1.5f * intensity) * speed);

		eng.storm_left = 1 + rng_u32() % 4;
		eng.storm_gap = 0;
		eng.storm_wait = (int)(TICK_HZ * mean_s * (0.4f + 1.2f * rng_f()));
	}
	return false;
}

static void hsv_to_rgb(float h, float s, float v, float rgb[3])
{
	float r = v, g = v, b = v;

	if (s > 0.0f) {
		float hh = (h - floorf(h)) * 6.0f;
		int i = (int)hh;
		float f = hh - i;
		float p = v * (1.0f - s);
		float q = v * (1.0f - s * f);
		float t = v * (1.0f - s * (1.0f - f));

		switch (i) {
		case 0: r = v; g = t; b = p; break;
		case 1: r = q; g = v; b = p; break;
		case 2: r = p; g = v; b = t; break;
		case 3: r = p; g = q; b = v; break;
		case 4: r = t; g = p; b = v; break;
		default: r = v; g = p; b = q; break;
		}
	}
	rgb[0] = r;
	rgb[1] = g;
	rgb[2] = b;
}

static void engine_tick(const struct candle_config *c, bool off)
{
	const struct mode_params *mp = &mode_params[c->mode];
	float bright = c->brightness / 100.0f;
	float intensity = c->intensity / 100.0f;
	float speed = 0.4f + 1.6f * (c->speed / 100.0f);
	float tempo = mp->tempo * speed;
	float depth = mp->depth * (0.2f + 1.3f * intensity);
	float colour[3] = { c->rgb[0] / 255.0f, c->rgb[1] / 255.0f, c->rgb[2] / 255.0f };
	float target[CH_COUNT] = { 0 };
	float alpha = 0.5f;

	if (off) {
		alpha = 0.12f;
	} else if (c->mode == CANDLE_MODE_STEADY) {
		for (int i = 0; i < 4; i++) {
			target[i] = bright * flame_chars[i].base;
		}
		for (int k = 0; k < 3; k++) {
			target[CH_R + k] = bright * colour[k];
		}
	} else if (c->mode == CANDLE_MODE_BREATHE) {
		float hz = 0.08f + 0.35f * (c->speed / 100.0f);
		float env;

		eng.breathe_phase += TWO_PI_F * hz / TICK_HZ;
		if (eng.breathe_phase > TWO_PI_F) {
			eng.breathe_phase -= TWO_PI_F;
		}
		env = 0.5f - 0.5f * cosf(eng.breathe_phase);
		env = 0.03f + 0.97f * env * env;
		for (int i = 0; i < 4; i++) {
			target[i] = bright * flame_chars[i].base * env;
		}
		for (int k = 0; k < 3; k++) {
			target[CH_R + k] = bright * colour[k] * env;
		}
	} else {
		float core_colour[3];
		float gust, wdepth, wlevel, core_level;
		bool gusting;

		/* Slow wind: an Ornstein-Uhlenbeck walk around 0.5 */
		eng.wind += (0.5f - eng.wind) * 0.02f + rng_tri() * 0.06f * (0.3f + depth);
		eng.wind = CLAMP(eng.wind, 0.0f, 1.0f);
		wdepth = depth * (0.5f + eng.wind);
		wlevel = 1.0f - 0.15f * depth * (1.0f - eng.wind);

		gust = gust_step(mp, intensity);
		gusting = eng.gust_total != 0;

		for (int i = 0; i < 4; i++) {
			flame_step(&eng.flames[i], &flame_chars[i], wdepth, tempo, gusting);
			target[i] = bright * mp->flame_scale[i] * eng.flames[i].level * wlevel * gust;
		}
		if (c->mode == CANDLE_MODE_EMBER && rng_f() < 0.02f) {
			/* a spark pops out of the embers */
			eng.flames[CH_YELLOW].target = 0.9f;
			eng.flames[CH_YELLOW].hold = 2;
		}

		flame_step(&eng.core, &core_char, wdepth * 0.7f, tempo * 0.8f, gusting);
		core_level = bright * mp->core_scale * eng.core.level * (1.0f - (1.0f - gust) * 0.5f);

		if (c->mode == CANDLE_MODE_COLOR_CYCLE) {
			eng.hue += speed / (TICK_HZ * 30.0f);
			if (eng.hue >= 1.0f) {
				eng.hue -= 1.0f;
			}
			hsv_to_rgb(eng.hue, 1.0f, 1.0f, core_colour);
		} else if (c->mode == CANDLE_MODE_EMBER) {
			static const float ember[3] = { 1.0f, 0.12f, 0.0f };

			for (int k = 0; k < 3; k++) {
				core_colour[k] = colour[k] * 0.3f + ember[k] * 0.7f;
			}
		} else {
			memcpy(core_colour, colour, sizeof(core_colour));
		}
		for (int k = 0; k < 3; k++) {
			target[CH_R + k] = core_colour[k] * core_level;
		}

		if (c->mode == CANDLE_MODE_STORM && storm_step(speed, intensity)) {
			for (int i = 0; i < CH_COUNT; i++) {
				target[i] = 1.0f;
			}
			alpha = 1.0f;
		} else if (c->mode == CANDLE_MODE_STORM) {
			alpha = 0.8f; /* flashes must also fall quickly */
		}
	}

	for (int i = 0; i < CH_COUNT; i++) {
		eng.out[i] += (target[i] - eng.out[i]) * alpha;
	}
}

static void apply_outputs(void)
{
	for (int i = 0; i < CH_COUNT; i++) {
		float v = eng.out[i];
		uint32_t pulse;

		if (i >= CH_R) {
			v *= rgb_balance[i - CH_R] / 100.0f;
		}
		v = CLAMP(v, 0.0f, 1.0f);
		levels[i] = (uint8_t)(v * 255.0f + 0.5f);

		/* gamma 2.2 so steps look even to the eye */
		pulse = (uint32_t)(powf(v, 2.2f) * channels[i].period + 0.5f);
		if (pulse != eng.last_pulse[i]) {
			int err = pwm_set_pulse_dt(&channels[i], pulse);

			if (err) {
				LOG_ERR("pwm_set_pulse_dt(%d) failed: %d", i, err);
			}
			eng.last_pulse[i] = pulse;
		}
	}
}

/* ---- Thread --------------------------------------------------------------- */

static K_SEM_DEFINE(start_sem, 0, 1);

static void candle_thread(void *p1, void *p2, void *p3)
{
	const uint32_t period = k_ms_to_ticks_ceil32(TICK_MS);
	int64_t next;

	k_sem_take(&start_sem, K_FOREVER);
	next = k_uptime_ticks();

	while (1) {
		struct candle_config c;

		next += period;
		k_sleep(K_TIMEOUT_ABS_TICKS(next));

		candle_get_config(&c);
		engine_tick(&c, !c.power || atomic_get(&lockout));
		apply_outputs();
	}
}
K_THREAD_DEFINE(candle_tid, 2048, candle_thread, NULL, NULL, NULL, K_PRIO_PREEMPT(8), 0, 0);

int candle_init(void)
{
	int err;

	for (int i = 0; i < CH_COUNT; i++) {
		if (!pwm_is_ready_dt(&channels[i])) {
			LOG_ERR("PWM channel %d not ready", i);
			return -ENODEV;
		}
		eng.last_pulse[i] = UINT32_MAX;
		eng.out[i] = 0.0f;
	}
	apply_outputs();

	rng_state = sys_rand32_get() | 1;
	for (int i = 0; i < 4; i++) {
		eng.flames[i].level = flame_chars[i].base;
		eng.flames[i].target = flame_chars[i].base;
	}
	eng.core.level = core_char.base;
	eng.core.target = core_char.base;
	eng.wind = 0.5f;
	eng.storm_wait = 3 * TICK_HZ;

	err = settings_subsys_init();
	if (err) {
		LOG_WRN("Settings unavailable (err %d), using defaults", err);
	} else {
		err = settings_load_subtree("candle");
		if (err) {
			LOG_WRN("Loading settings failed (err %d)", err);
		}
	}

	LOG_INF("Candle: power %u, %u %%, mode %s, speed %u, intensity %u, colour %u,%u,%u",
		cfg.power, cfg.brightness, mode_names[cfg.mode], cfg.speed, cfg.intensity,
		cfg.rgb[0], cfg.rgb[1], cfg.rgb[2]);

	k_sem_give(&start_sem);
	return 0;
}
```

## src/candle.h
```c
/*
 * Candle engine: configuration model and the animation that drives the LEDs.
 *
 * SPDX-License-Identifier: Apache-2.0
 */
#ifndef CANDLE_H_
#define CANDLE_H_

#include <stdbool.h>
#include <stdint.h>
#include <zephyr/sys/util.h>
#include <zephyr/toolchain.h>

/* Flame channels 0..3 then the RGB core 4..6, in app.overlay order. */
#define CANDLE_CHANNELS 7

enum candle_mode {
	CANDLE_MODE_STEADY = 0,   /* no flicker, constant light */
	CANDLE_MODE_CALM,         /* gentle flicker, rare gusts */
	CANDLE_MODE_NORMAL,       /* a candle in a still room */
	CANDLE_MODE_WINDY,        /* fast, deep flicker, frequent gusts */
	CANDLE_MODE_EMBER,        /* dying fire: reds, slow pulsing, rare pops */
	CANDLE_MODE_STORM,        /* dim flicker with lightning flashes */
	CANDLE_MODE_COLOR_CYCLE,  /* RGB core cycles through the hues */
	CANDLE_MODE_BREATHE,      /* everything swells and fades together */
	CANDLE_MODE_COUNT
};

/* Everything a client can set. Persisted and exposed over GATT as-is. */
struct candle_config {
	uint8_t power;      /* 0 = off, 1 = on */
	uint8_t brightness; /* 0..100 % */
	uint8_t mode;       /* enum candle_mode */
	uint8_t speed;      /* 0..100, flicker tempo */
	uint8_t intensity;  /* 0..100, flicker depth */
	uint8_t rgb[3];     /* colour of the RGB core */
} __packed;

/* Bit mask of fields reported through the change callback. */
#define CANDLE_FIELD_POWER      BIT(0)
#define CANDLE_FIELD_BRIGHTNESS BIT(1)
#define CANDLE_FIELD_MODE       BIT(2)
#define CANDLE_FIELD_SPEED      BIT(3)
#define CANDLE_FIELD_INTENSITY  BIT(4)
#define CANDLE_FIELD_COLOR      BIT(5)

typedef void (*candle_change_cb_t)(uint32_t changed_fields);

/* Loads the saved configuration and starts the animation thread. */
int candle_init(void);

void candle_get_config(struct candle_config *out);

/* Setters return -EINVAL for out-of-range values. */
int candle_set_power(bool on);
int candle_set_brightness(uint8_t percent);
int candle_set_mode(uint8_t mode);
int candle_set_speed(uint8_t speed);
int candle_set_intensity(uint8_t intensity);
int candle_set_rgb(const uint8_t rgb[3]);
void candle_toggle_power(void);
void candle_next_mode(void);

/* Per-channel white balance for the RGB core, 0..100 %. Not persisted. */
void candle_set_rgb_balance(const uint8_t balance[3]);
void candle_get_rgb_balance(uint8_t balance[3]);

/* Called (from the context of whoever changed a value) after any change. */
void candle_set_change_callback(candle_change_cb_t cb);

/* Low battery: forces the light off until released. */
void candle_set_lockout(bool lockout);
bool candle_get_lockout(void);

/* Current perceptual output per channel, 0..255, for diagnostics. */
void candle_get_levels(uint8_t levels[CANDLE_CHANNELS]);

const char *candle_mode_name(uint8_t mode);
int candle_mode_from_name(const char *name);

#endif /* CANDLE_H_ */
```

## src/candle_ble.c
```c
/*
 * Candle GATT service.
 *
 * One characteristic per setting, each readable, writable and notifiable, with
 * a user description so a generic tool such as nRF Connect shows what it is.
 * Battery level uses the standard Battery Service; a vendor characteristic
 * adds the raw millivolts.
 *
 * SPDX-License-Identifier: Apache-2.0
 */

#include <zephyr/kernel.h>
#include <zephyr/logging/log.h>
#include <zephyr/sys/atomic.h>
#include <zephyr/sys/byteorder.h>
#include <zephyr/bluetooth/bluetooth.h>
#include <zephyr/bluetooth/conn.h>
#include <zephyr/bluetooth/gap.h>
#include <zephyr/bluetooth/gatt.h>
#include <zephyr/bluetooth/uuid.h>
#include <zephyr/bluetooth/services/bas.h>

#include "battery.h"
#include "candle.h"
#include "candle_ble.h"

LOG_MODULE_REGISTER(candle_ble, CONFIG_LOG_DEFAULT_LEVEL);

/* a3c1XXXX-7f6e-4b1a-9c2d-5e8f0a1b2c3d */
#define CANDLE_UUID_VAL(n) BT_UUID_128_ENCODE(0xa3c10000 + (n), 0x7f6e, 0x4b1a, 0x9c2d, 0x5e8f0a1b2c3d)

static const struct bt_uuid_128 uuid_svc = BT_UUID_INIT_128(CANDLE_UUID_VAL(1));
static const struct bt_uuid_128 uuid_power = BT_UUID_INIT_128(CANDLE_UUID_VAL(2));
static const struct bt_uuid_128 uuid_brightness = BT_UUID_INIT_128(CANDLE_UUID_VAL(3));
static const struct bt_uuid_128 uuid_mode = BT_UUID_INIT_128(CANDLE_UUID_VAL(4));
static const struct bt_uuid_128 uuid_speed = BT_UUID_INIT_128(CANDLE_UUID_VAL(5));
static const struct bt_uuid_128 uuid_intensity = BT_UUID_INIT_128(CANDLE_UUID_VAL(6));
static const struct bt_uuid_128 uuid_color = BT_UUID_INIT_128(CANDLE_UUID_VAL(7));
static const struct bt_uuid_128 uuid_batt_mv = BT_UUID_INIT_128(CANDLE_UUID_VAL(8));

static atomic_t connected;
static atomic_t pending_fields;

/* ---- Characteristic access ------------------------------------------------ */

static uint8_t field_value(const struct candle_config *c, uint32_t field)
{
	switch (field) {
	case CANDLE_FIELD_POWER:
		return c->power;
	case CANDLE_FIELD_BRIGHTNESS:
		return c->brightness;
	case CANDLE_FIELD_MODE:
		return c->mode;
	case CANDLE_FIELD_SPEED:
		return c->speed;
	case CANDLE_FIELD_INTENSITY:
		return c->intensity;
	default:
		return 0;
	}
}

static int field_set(uint32_t field, uint8_t value)
{
	switch (field) {
	case CANDLE_FIELD_POWER:
		return value <= 1 ? candle_set_power(value) : -EINVAL;
	case CANDLE_FIELD_BRIGHTNESS:
		return candle_set_brightness(value);
	case CANDLE_FIELD_MODE:
		return candle_set_mode(value);
	case CANDLE_FIELD_SPEED:
		return candle_set_speed(value);
	case CANDLE_FIELD_INTENSITY:
		return candle_set_intensity(value);
	default:
		return -EINVAL;
	}
}

static ssize_t read_u8(struct bt_conn *conn, const struct bt_gatt_attr *attr, void *buf,
		       uint16_t len, uint16_t offset)
{
	struct candle_config c;
	uint8_t value;

	candle_get_config(&c);
	value = field_value(&c, (uint32_t)(uintptr_t)attr->user_data);
	return bt_gatt_attr_read(conn, attr, buf, len, offset, &value, sizeof(value));
}

static ssize_t write_u8(struct bt_conn *conn, const struct bt_gatt_attr *attr, const void *buf,
			uint16_t len, uint16_t offset, uint8_t flags)
{
	if (offset != 0) {
		return BT_GATT_ERR(BT_ATT_ERR_INVALID_OFFSET);
	}
	if (len != 1) {
		return BT_GATT_ERR(BT_ATT_ERR_INVALID_ATTRIBUTE_LEN);
	}
	if (field_set((uint32_t)(uintptr_t)attr->user_data, *(const uint8_t *)buf)) {
		return BT_GATT_ERR(BT_ATT_ERR_VALUE_NOT_ALLOWED);
	}
	return len;
}

static ssize_t read_color(struct bt_conn *conn, const struct bt_gatt_attr *attr, void *buf,
			  uint16_t len, uint16_t offset)
{
	struct candle_config c;

	candle_get_config(&c);
	return bt_gatt_attr_read(conn, attr, buf, len, offset, c.rgb, sizeof(c.rgb));
}

static ssize_t write_color(struct bt_conn *conn, const struct bt_gatt_attr *attr,
			   const void *buf, uint16_t len, uint16_t offset, uint8_t flags)
{
	if (offset != 0) {
		return BT_GATT_ERR(BT_ATT_ERR_INVALID_OFFSET);
	}
	if (len != 3) {
		return BT_GATT_ERR(BT_ATT_ERR_INVALID_ATTRIBUTE_LEN);
	}
	candle_set_rgb(buf);
	return len;
}

static ssize_t read_batt_mv(struct bt_conn *conn, const struct bt_gatt_attr *attr, void *buf,
			    uint16_t len, uint16_t offset)
{
	uint16_t mv = sys_cpu_to_le16(battery_get_millivolts());

	return bt_gatt_attr_read(conn, attr, buf, len, offset, &mv, sizeof(mv));
}

static void ccc_changed(const struct bt_gatt_attr *attr, uint16_t value)
{
	ARG_UNUSED(attr);
	ARG_UNUSED(value);
}

#define CANDLE_SETTING_CHRC(_uuid, _field, _desc)                                                 \
	BT_GATT_CHARACTERISTIC(&(_uuid).uuid,                                                      \
			       BT_GATT_CHRC_READ | BT_GATT_CHRC_WRITE |                            \
				       BT_GATT_CHRC_WRITE_WITHOUT_RESP | BT_GATT_CHRC_NOTIFY,        \
			       BT_GATT_PERM_READ | BT_GATT_PERM_WRITE, read_u8, write_u8,          \
			       (void *)(uintptr_t)(_field)),                                       \
		BT_GATT_CCC(ccc_changed, BT_GATT_PERM_READ | BT_GATT_PERM_WRITE),                  \
		BT_GATT_CUD(_desc, BT_GATT_PERM_READ)

BT_GATT_SERVICE_DEFINE(candle_svc,
	BT_GATT_PRIMARY_SERVICE(&uuid_svc),
	CANDLE_SETTING_CHRC(uuid_power, CANDLE_FIELD_POWER, "Power: 0 off, 1 on"),
	CANDLE_SETTING_CHRC(uuid_brightness, CANDLE_FIELD_BRIGHTNESS, "Brightness 0-100 %"),
	CANDLE_SETTING_CHRC(uuid_mode, CANDLE_FIELD_MODE,
			    "Mode: 0 steady 1 calm 2 normal 3 windy 4 ember 5 storm "
			    "6 colour cycle 7 breathe"),
	CANDLE_SETTING_CHRC(uuid_speed, CANDLE_FIELD_SPEED, "Flicker speed 0-100"),
	CANDLE_SETTING_CHRC(uuid_intensity, CANDLE_FIELD_INTENSITY, "Flicker intensity 0-100"),
	BT_GATT_CHARACTERISTIC(&uuid_color.uuid,
			       BT_GATT_CHRC_READ | BT_GATT_CHRC_WRITE |
				       BT_GATT_CHRC_WRITE_WITHOUT_RESP | BT_GATT_CHRC_NOTIFY,
			       BT_GATT_PERM_READ | BT_GATT_PERM_WRITE, read_color, write_color,
			       NULL),
	BT_GATT_CCC(ccc_changed, BT_GATT_PERM_READ | BT_GATT_PERM_WRITE),
	BT_GATT_CUD("Core colour: R, G, B bytes", BT_GATT_PERM_READ),
	BT_GATT_CHARACTERISTIC(&uuid_batt_mv.uuid, BT_GATT_CHRC_READ | BT_GATT_CHRC_NOTIFY,
			       BT_GATT_PERM_READ, read_batt_mv, NULL, NULL),
	BT_GATT_CCC(ccc_changed, BT_GATT_PERM_READ | BT_GATT_PERM_WRITE),
	BT_GATT_CUD("Battery millivolts, uint16 little endian", BT_GATT_PERM_READ),
);

/* ---- Notifications -------------------------------------------------------- */

static void notify_work_handler(struct k_work *work)
{
	uint32_t fields = atomic_clear(&pending_fields);
	struct candle_config c;
	uint8_t v;

	if (!atomic_get(&connected)) {
		return;
	}
	candle_get_config(&c);

	if (fields & CANDLE_FIELD_POWER) {
		v = c.power;
		bt_gatt_notify_uuid(NULL, &uuid_power.uuid, candle_svc.attrs, &v, 1);
	}
	if (fields & CANDLE_FIELD_BRIGHTNESS) {
		v = c.brightness;
		bt_gatt_notify_uuid(NULL, &uuid_brightness.uuid, candle_svc.attrs, &v, 1);
	}
	if (fields & CANDLE_FIELD_MODE) {
		v = c.mode;
		bt_gatt_notify_uuid(NULL, &uuid_mode.uuid, candle_svc.attrs, &v, 1);
	}
	if (fields & CANDLE_FIELD_SPEED) {
		v = c.speed;
		bt_gatt_notify_uuid(NULL, &uuid_speed.uuid, candle_svc.attrs, &v, 1);
	}
	if (fields & CANDLE_FIELD_INTENSITY) {
		v = c.intensity;
		bt_gatt_notify_uuid(NULL, &uuid_intensity.uuid, candle_svc.attrs, &v, 1);
	}
	if (fields & CANDLE_FIELD_COLOR) {
		bt_gatt_notify_uuid(NULL, &uuid_color.uuid, candle_svc.attrs, c.rgb, 3);
	}
}
static K_WORK_DEFINE(notify_work, notify_work_handler);

static void on_candle_change(uint32_t fields)
{
	atomic_or(&pending_fields, fields);
	k_work_submit(&notify_work);
}

static void on_battery(uint16_t mv, uint8_t percent)
{
	uint16_t le = sys_cpu_to_le16(mv);

	bt_bas_set_battery_level(percent);
	if (atomic_get(&connected)) {
		bt_gatt_notify_uuid(NULL, &uuid_batt_mv.uuid, candle_svc.attrs, &le, sizeof(le));
	}
}

/* ---- Advertising and connections ----------------------------------------- */

static const struct bt_data ad[] = {
	BT_DATA_BYTES(BT_DATA_FLAGS, (BT_LE_AD_GENERAL | BT_LE_AD_NO_BREDR)),
	BT_DATA(BT_DATA_NAME_COMPLETE, CONFIG_BT_DEVICE_NAME, sizeof(CONFIG_BT_DEVICE_NAME) - 1),
};

static const struct bt_data sd[] = {
	BT_DATA_BYTES(BT_DATA_UUID128_ALL, CANDLE_UUID_VAL(1)),
};

static void adv_start_work_handler(struct k_work *work)
{
	int err = bt_le_adv_start(BT_LE_ADV_CONN_FAST_2, ad, ARRAY_SIZE(ad), sd, ARRAY_SIZE(sd));

	if (err == -EALREADY) {
		return;
	}
	if (err) {
		LOG_ERR("Advertising failed to start (err %d)", err);
		return;
	}
	LOG_INF("Advertising as \"%s\"", CONFIG_BT_DEVICE_NAME);
}
static K_WORK_DEFINE(adv_start_work, adv_start_work_handler);

static void on_connected(struct bt_conn *conn, uint8_t err)
{
	char addr[BT_ADDR_LE_STR_LEN];

	if (err) {
		LOG_WRN("Connection failed (err 0x%02x)", err);
		k_work_submit(&adv_start_work);
		return;
	}
	bt_addr_le_to_str(bt_conn_get_dst(conn), addr, sizeof(addr));
	atomic_set(&connected, 1);
	LOG_INF("Connected: %s", addr);
}

static void on_disconnected(struct bt_conn *conn, uint8_t reason)
{
	atomic_set(&connected, 0);
	LOG_INF("Disconnected (reason 0x%02x)", reason);
	k_work_submit(&adv_start_work);
}

BT_CONN_CB_DEFINE(conn_callbacks) = {
	.connected = on_connected,
	.disconnected = on_disconnected,
};

bool candle_ble_is_connected(void)
{
	return atomic_get(&connected);
}

int candle_ble_init(void)
{
	int err = bt_enable(NULL);

	if (err) {
		LOG_ERR("Bluetooth init failed (err %d)", err);
		return err;
	}
	candle_set_change_callback(on_candle_change);
	battery_set_callback(on_battery);
	k_work_submit(&adv_start_work);
	return 0;
}
```

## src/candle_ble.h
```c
/*
 * Bluetooth LE: advertising, connections and the Candle GATT service.
 *
 * SPDX-License-Identifier: Apache-2.0
 */
#ifndef CANDLE_BLE_H_
#define CANDLE_BLE_H_

#include <stdbool.h>

/* Enables Bluetooth and starts advertising. */
int candle_ble_init(void);

bool candle_ble_is_connected(void);

#endif /* CANDLE_BLE_H_ */
```
